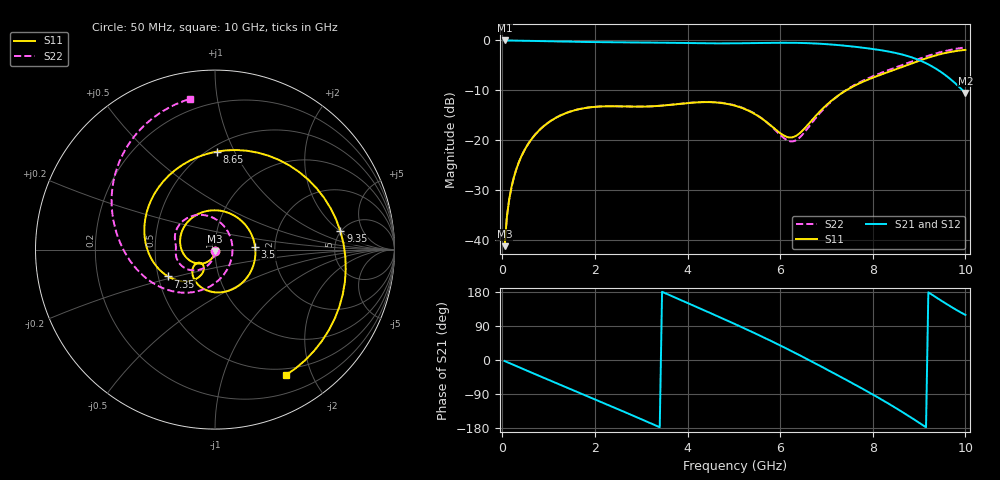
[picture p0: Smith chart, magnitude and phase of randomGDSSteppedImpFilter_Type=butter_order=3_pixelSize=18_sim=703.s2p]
! freq	dB(S11)	phase(S11)	dB(S12)	phase(S12)
!  dB(S21)	phase(S21)	dB(S22)	phase(S22)
!S-par simulation data
#  GHz  S  DB  R 50
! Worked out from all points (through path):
!   200 points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, 50 MHz to 10 GHz, reference 50 ohm
!   highest |S21| = 0.00 dB at 50 MHz (marker M1); lowest = -10.5 dB at 10 GHz (marker M2)
!   group delay of S21, straight-line fit = 164 ps
!   lowest |S11| = -41.2 dB at 50 MHz (marker M3), VSWR 1.02, Z = 50 - j0.873 ohm
!   |S11| at or under -10 dB: start of sweep to 7.423 GHz
!   |S22| runs from -41.1 to -1.4 dB; largest |S21 - S12| = 0
!   S11 on the Smith chart (normalised r, x): 50 MHz: 1.00, -0.02; 3.5 GHz: 1.57, +0.05; 7.35 GHz: 0.56, -0.19; 8.65 GHz: 0.55, +0.85; 9.35 GHz: 4.96, +2.02; 10 GHz: 0.42, -1.64
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0.05  -41.16 -92.3  -0.00 -2.7  -0.00 -2.7  -41.14 -91.0
0.1  -35.22 -95.8  -0.01 -5.3  -0.01 -5.3  -35.20 -93.5
0.2  -29.30 -102.8  -0.02 -10.6  -0.02 -10.6  -29.27 -98.1
0.5  -21.61 -122.8  -0.07 -26.4  -0.07 -26.4  -21.59 -110.9
1.15  -15.52 -165.6  -0.20 -60.2  -0.20 -60.2  -15.49 -136.3
1.75  -13.58 152.9  -0.30 -91.1  -0.30 -91.1  -13.57 -156.5
2.5  -13.18 94.2  -0.37 -129.8  -0.37 -129.8  -13.17 -175.2
3.4  -13.08 12.8  -0.45 -177.4  -0.45 -177.4  -13.07 171.7
3.5  -13.00 3.7  -0.46 177.3  -0.46 177.3  -13.00 170.2
4.2  -12.40 -55.2  -0.56 139.7  -0.56 139.7  -12.37 154.9
5.05  -13.12 -112.7  -0.58 93.4  -0.58 93.4  -13.05 121.4
5.8  -17.03 -143.2  -0.48 50.5  -0.48 50.5  -17.11 68.6
6.25  -19.41 -130.4  -0.47 23.2  -0.47 23.2  -20.21 0.3
6.7  -15.80 -118.8  -0.58 -5.2  -0.58 -5.2  -16.32 -73.5
7.35  -10.42 -150.2  -1.01 -47.3  -1.01 -47.3  -10.40 -127.5
7.85  -8.02 170.2  -1.53 -80.7  -1.53 -80.7  -7.78 -155.7
8.35  -6.26 121.8  -2.24 -115.8  -2.24 -115.8  -5.90 -179.3
8.65  -5.25 89.0  -2.86 -138.2  -2.86 -138.2  -4.87 167.5
9  -4.07 48.7  -3.93 -165.5  -3.93 -165.5  -3.70 151.6
9.35  -3.02 8.3  -5.57 166.7  -5.57 166.7  -2.64 134.3
9.65  -2.35 -24.8  -7.54 143.5  -7.54 143.5  -1.94 118.5
10  -1.90 -60.4  -10.51 118.9  -10.51 118.9  -1.41 99.5
